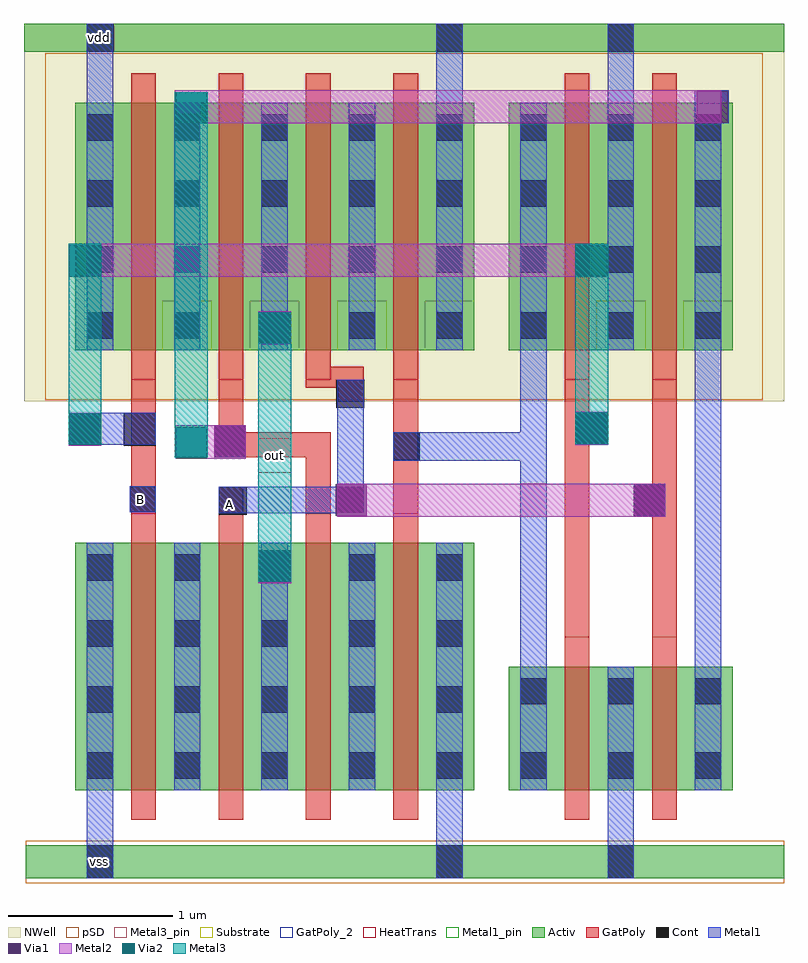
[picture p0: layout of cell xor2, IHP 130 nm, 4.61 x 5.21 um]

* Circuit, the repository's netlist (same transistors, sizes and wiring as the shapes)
* Extracted by KLayout with SG13G2 LVS runset on : 20/03/2026 23:57

.SUBCKT xor2
M$1 \$5 \$14 \$1 \$1 sg13_lv_nmos L=0.15u W=0.75u AS=0.255p AD=0.1425p PS=2.18u
+ PD=1.13u
M$2 \$1 \$13 \$12 \$1 sg13_lv_nmos L=0.15u W=0.75u AS=0.1425p AD=0.255p
+ PS=1.13u PD=2.18u
M$3 \$1 \$14 \$2 \$1 sg13_lv_nmos L=0.15u W=1.5u AS=0.51p AD=0.285p PS=3.68u
+ PD=1.88u
M$4 \$2 \$13 \$3 \$1 sg13_lv_nmos L=0.15u W=1.5u AS=0.285p AD=0.285p PS=1.88u
+ PD=1.88u
M$5 \$3 \$12 \$4 \$1 sg13_lv_nmos L=0.15u W=1.5u AS=0.285p AD=0.285p PS=1.88u
+ PD=1.88u
M$6 \$4 \$5 \$1 \$1 sg13_lv_nmos L=0.15u W=1.5u AS=0.285p AD=0.51p PS=1.88u
+ PD=3.68u
M$7 \$15 \$14 \$16 \$15 sg13_lv_pmos L=0.15u W=1.5u AS=0.51p AD=0.285p PS=3.68u
+ PD=1.88u
M$8 \$16 \$12 \$3 \$15 sg13_lv_pmos L=0.15u W=1.5u AS=0.285p AD=0.285p PS=1.88u
+ PD=1.88u
M$9 \$3 \$13 \$17 \$15 sg13_lv_pmos L=0.15u W=1.5u AS=0.285p AD=0.285p PS=1.88u
+ PD=1.88u
M$10 \$17 \$5 \$15 \$15 sg13_lv_pmos L=0.15u W=1.5u AS=0.285p AD=0.51p PS=1.88u
+ PD=3.68u
M$11 \$5 \$14 \$15 \$15 sg13_lv_pmos L=0.15u W=1.5u AS=0.51p AD=0.285p PS=3.68u
+ PD=1.88u
M$12 \$15 \$13 \$12 \$15 sg13_lv_pmos L=0.15u W=1.5u AS=0.285p AD=0.51p
+ PS=1.88u PD=3.68u
.ENDS xor2

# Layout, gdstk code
import gdstk
lib = gdstk.Library(unit=1e-6, precision=5e-09)
def R(c, l, rs):  # rectangles x0, y0, x1, y1
    for r in rs: c.add(gdstk.rectangle(r[:2], r[2:], *l))
def A(c, l, x, y, w, h, nx, ny, dx, dy):  # array of equal rectangles
    R(c, l, [(x+i*dx, y+j*dy, x+i*dx+w, y+j*dy+h) for i in range(nx) for j in range(ny)])
Activ = (1, 0)
GatPoly = (5, 0)
GatPoly_2 = (5, 2)
Cont = (6, 0)
Metal1 = (8, 0)
Metal1_pin = (8, 2)
Metal2 = (10, 0)
pSD = (14, 0)
Via1 = (19, 0)
Via2 = (29, 0)
Metal3 = (30, 0)
Metal3_pin = (30, 2)
NWell = (31, 0)
Substrate = (40, 0)
HeatTrans = (51, 0)

pmos_1 = lib.new_cell('pmos$1')
R(pmos_1, Activ, [(0,0,0.3,0.3), (0,0,0.83,1.5), (0.53,0,0.83,0.3)])
R(pmos_1, GatPoly, [(0.34,-0.18,0.49,1.68), (0.34,-0.18,0.49,1.68)])
A(pmos_1, Cont, 0.07, 0.07, 0.16, 0.16, 1, 4, 0, 0.4)
A(pmos_1, Cont, 0.6, 0.07, 0.16, 0.16, 1, 4, 0, 0.4)
R(pmos_1, Metal1, [(0.07,0,0.23,1.5), (0.07,0,0.23,1.5), (0.6,0,0.76,1.5), (0.6,0,0.76,1.5)])
R(pmos_1, pSD, [(-0.18,-0.3,1.01,1.8)])
R(pmos_1, NWell, [(-0.31,-0.31,1.14,1.81)])
R(pmos_1, Substrate, [(0.53,0,0.83,0.3)])
R(pmos_1, HeatTrans, [(0.34,-0.18,0.49,1.68)])
pmos_1.add(gdstk.Label('pmos', (0.415,0.75), layer=63, texttype=0))
pmos_1.add(gdstk.Label('pmos', (0.415,0.75), layer=51, texttype=0))

nmos_3 = lib.new_cell('nmos$3')
R(nmos_3, Activ, [(0,0,0.3,0.3), (0,0,0.83,1.5), (0.53,0,0.83,0.3)])
R(nmos_3, GatPoly, [(0.34,-0.18,0.49,1.68)])
R(nmos_3, GatPoly_2, [(0.34,-0.18,0.49,1.68)])
A(nmos_3, Cont, 0.07, 0.07, 0.16, 0.16, 1, 4, 0, 0.4)
A(nmos_3, Cont, 0.6, 0.07, 0.16, 0.16, 1, 4, 0, 0.4)
R(nmos_3, Metal1, [(0.07,0,0.23,1.5), (0.6,0,0.76,1.5)])
R(nmos_3, Metal1_pin, [(0.07,0,0.23,1.5), (0.6,0,0.76,1.5)])
R(nmos_3, HeatTrans, [(0.34,-0.18,0.49,1.68)])
nmos_3.add(gdstk.Label('nmos', (0.415,0.75), layer=63, texttype=0))
nmos_3.add(gdstk.Label('nmos', (0.415,0.75), layer=51, texttype=0))

nmos = lib.new_cell('nmos')
R(nmos, Activ, [(0,0,0.3,0.3), (0,0,0.83,0.75), (0.53,0,0.83,0.3)])
R(nmos, GatPoly, [(0.34,-0.18,0.49,0.93)])
R(nmos, GatPoly_2, [(0.34,-0.18,0.49,0.93)])
R(nmos, Cont, [(0.07,0.07,0.23,0.23), (0.6,0.07,0.76,0.23), (0.07,0.52,0.23,0.68), (0.6,0.52,0.76,0.68)])
R(nmos, Metal1, [(0.07,0,0.23,0.75), (0.6,0,0.76,0.75)])
R(nmos, Metal1_pin, [(0.07,0,0.23,0.75), (0.6,0,0.76,0.75)])
R(nmos, HeatTrans, [(0.34,-0.18,0.49,0.93)])
nmos.add(gdstk.Label('nmos', (0.415,0.375), layer=63, texttype=0))
nmos.add(gdstk.Label('nmos', (0.415,0.375), layer=51, texttype=0))

xor2 = lib.new_cell('xor2')
R(xor2, Activ, [(-1.04,-2.6,3.56,-2.4), (-1.05,2.415,3.56,2.585)])
R(xor2, GatPoly, [(2.23,-1.135,2.38,0.425), (2.76,-1.135,2.91,0.425), (2.65,-0.405,2.76,-0.21), (-0.4,-0.385,-0.25,0.425), (0.13,-0.385,0.28,-0.225), (0.66,-0.385,0.81,-0.025), (1.19,-0.385,1.34,0.425), (0.105,-0.045,0.295,0.145), (0.13,-0.045,0.81,0.105), (0.13,-0.025,0.28,0.425), (0.855,0.29,1.01,0.505), (0.66,0.375,1.01,0.505)])
R(xor2, Cont, [(-0.67,-2.6,-0.51,-2.4), (1.45,-2.6,1.61,-2.4), (2.49,-2.6,2.65,-2.4), (2.65,-0.4,2.84,-0.21), (0.13,-0.395,0.3,-0.225), (0.85,-0.385,1.015,-0.225), (-0.41,-0.38,-0.25,-0.22), (1.19,-0.06,1.35,0.105), (0.105,-0.045,0.295,0.145), (-0.445,0.025,-0.25,0.225), (2.3,0.035,2.49,0.225), (0.845,0.255,1.015,0.425), (-0.67,2.415,-0.505,2.585), (1.45,2.415,1.61,2.585), (2.49,2.415,2.65,2.585)])
R(xor2, Metal1, [(-0.67,-2.6,-0.51,-1.995), (1.45,-2.6,1.61,-1.995), (2.49,-2.6,2.65,-1.995), (3.02,-1.395,3.18,0.675), (1.96,-1.39,2.12,0.685), (1.96,-1.39,2.12,0.685), (2.65,-0.405,2.84,-0.21), (0.13,-0.385,1.01,-0.225), (0.85,-0.385,1.01,0.425), (-0.41,-0.38,-0.25,-0.22), (1.19,-0.065,2.12,0.105), (0.105,-0.045,0.295,0.145), (-0.775,0.03,-0.25,0.225), (-0.44,0.03,-0.25,0.225), (2.3,0.035,2.49,0.225), (0.37,0.64,0.57,0.835), (3.02,1.98,3.225,2.18), (-0.67,2.035,-0.51,2.585), (1.45,2.035,1.61,2.585), (2.49,2.05,2.65,2.585)])
R(xor2, Metal1_pin, [(-0.67,-2.6,-0.51,-2.4), (1.45,-2.6,1.61,-2.4), (2.49,-2.6,2.65,-2.4), (-0.41,-0.38,-0.25,-0.22), (1.45,2.41,1.61,2.585), (2.49,2.41,2.65,2.585), (-0.67,2.415,-0.51,2.585)])
R(xor2, Metal2, [(0.37,-0.81,0.57,-0.61), (0.85,-0.405,2.84,-0.205), (-0.13,-0.055,0.295,0.15), (-0.78,0.025,-0.58,0.225), (2.295,0.03,2.495,0.23), (0.37,0.64,0.57,0.84), (-0.78,1.05,2.49,1.25), (-0.135,1.98,3.18,2.18)])
R(xor2, pSD, [(-1.04,-2.63,3.56,-2.37)])
R(xor2, Via1, [(0.375,-0.805,0.565,-0.615), (2.65,-0.405,2.84,-0.215), (0.84,-0.4,1.03,-0.21), (0.84,-0.4,1.03,-0.21), (0.105,-0.045,0.295,0.145), (-0.775,0.03,-0.585,0.22), (-0.775,0.03,-0.585,0.22), (2.3,0.035,2.49,0.225), (2.3,0.035,2.49,0.225), (0.375,0.645,0.565,0.835), (3.03,1.985,3.22,2.175)])
R(xor2, Via2, [(0.375,-0.8,0.565,-0.61), (-0.13,-0.05,0.06,0.14), (-0.775,0.03,-0.585,0.22), (2.3,0.035,2.49,0.225), (0.375,0.645,0.565,0.835), (-0.775,1.05,-0.585,1.24), (2.3,1.05,2.49,1.24), (-0.13,1.98,0.06,2.17)])
R(xor2, Metal3, [(0.37,-0.8,0.57,0.835), (-0.135,-0.045,0.065,2.17), (-0.78,0.035,-0.58,1.25), (2.295,0.035,2.495,1.25)])
R(xor2, Metal3_pin, [(0.37,-0.14,0.57,0.07)])
R(xor2, NWell, [(-1.05,2.415,3.56,2.585)])
xor2.add(gdstk.Reference(pmos_1, (-0.74,0.605)))
xor2.add(gdstk.Reference(pmos_1, (-0.21,0.605)))
xor2.add(gdstk.Reference(pmos_1, (0.32,0.605)))
xor2.add(gdstk.Reference(pmos_1, (0.85,0.605)))
xor2.add(gdstk.Reference(pmos_1, (2.42,0.605)))
xor2.add(gdstk.Reference(nmos_3, (-0.74,-2.065)))
xor2.add(gdstk.Reference(nmos_3, (0.32,-2.065)))
xor2.add(gdstk.Reference(nmos_3, (-0.21,-2.065)))
xor2.add(gdstk.Reference(nmos_3, (0.85,-2.065)))
xor2.add(gdstk.Reference(pmos_1, (1.89,0.605)))
xor2.add(gdstk.Reference(nmos, (2.42,-2.065)))
xor2.add(gdstk.Reference(nmos, (1.89,-2.065)))
xor2.add(gdstk.Label('vdd', (-0.59,2.5), layer=8, texttype=2))
xor2.add(gdstk.Label('vss', (-0.59,-2.5), layer=8, texttype=2))
xor2.add(gdstk.Label('A', (0.195,-0.33), layer=8, texttype=2))
xor2.add(gdstk.Label('B', (-0.345,-0.3), layer=8, texttype=2))
xor2.add(gdstk.Label('out', (0.47,-0.035), layer=30, texttype=2))

lib.write_gds('xor2.gds')
